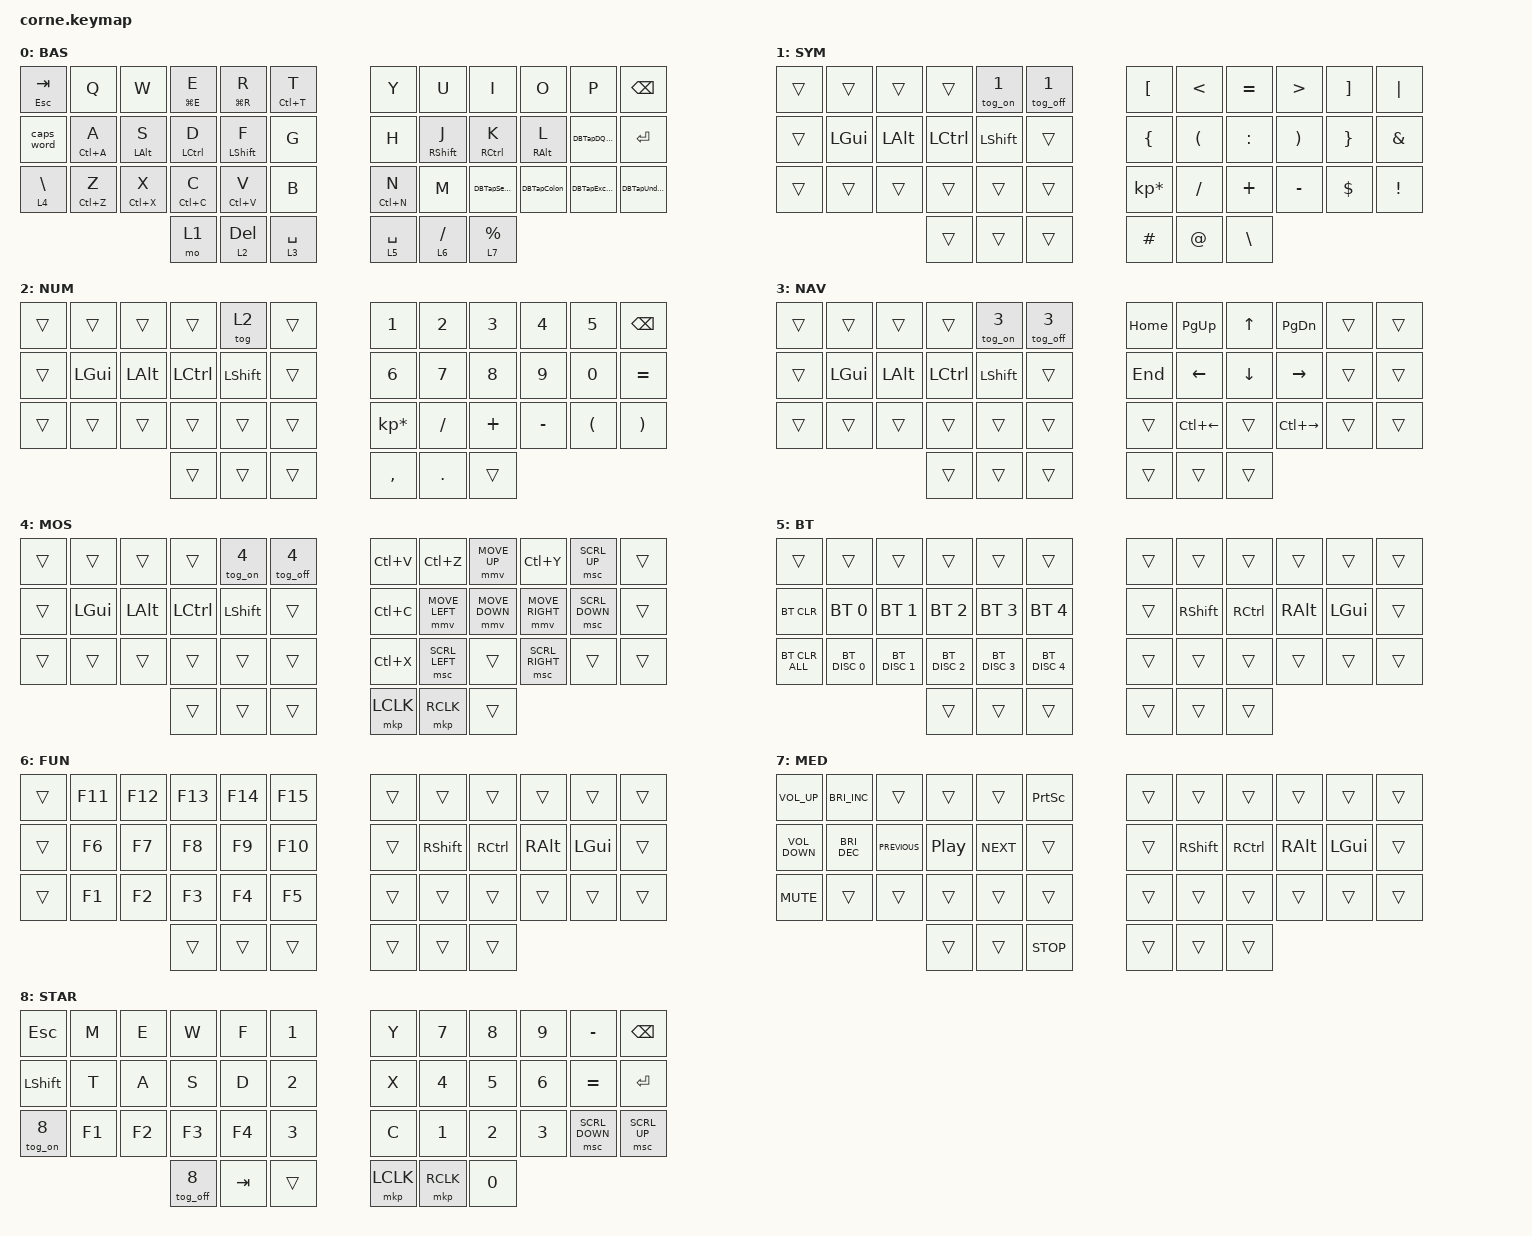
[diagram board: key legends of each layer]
/*
 * Copyright (c) 2020 The ZMK Contributors
 *
 * SPDX-License-Identifier: MIT
 */

#include <behaviors.dtsi>
#include <dt-bindings/zmk/bt.h>
#include <dt-bindings/zmk/keys.h>
#include <dt-bindings/zmk/pointing.h>

&caps_word { continue-list = <UNDERSCORE BACKSPACE DELETE MINUS>; };

/ {
    behaviors {
        DBTapUnderscore: DBTapUnderscore {
            compatible = "zmk,behavior-tap-dance";
            label = "DBTAPUNDERSCORE";
            #binding-cells = <0>;
            bindings = <&kp MINUS>, <&kp UNDERSCORE>;
        };

        DBTapExclamation: DBTapExclamation {
            compatible = "zmk,behavior-tap-dance";
            label = "DBTAPEXCLAMATION";
            #binding-cells = <0>;
            bindings = <&kp QUESTION>, <&kp EXCLAMATION>;
        };

        DBTapColon: DBTapColon {
            compatible = "zmk,behavior-tap-dance";
            label = "DBTAPCOLON";
            #binding-cells = <0>;
            bindings = <&kp DOT>, <&kp COLON>;
        };

        DBTapSemicolon: DBTapSemicolon {
            compatible = "zmk,behavior-tap-dance";
            label = "DBTAPSEMICOLON";
            #binding-cells = <0>;
            bindings = <&kp COMMA>, <&kp SEMICOLON>;
        };

        DBTapDQuote: DBTapDQuote {
            compatible = "zmk,behavior-tap-dance";
            label = "DBTAPDQUOTE";
            #binding-cells = <0>;
            bindings = <&kp SINGLE_QUOTE>, <&kp DOUBLE_QUOTES>;
        };

        longPress: longPress {
            compatible = "zmk,behavior-hold-tap";
            label = "LONGPRESS";
            bindings = <&kp>, <&kp>;

            #binding-cells = <2>;
            tapping-term-ms = <400>;
            flavor = "tap-preferred";
        };

        hmr: hmr {
            compatible = "zmk,behavior-hold-tap";
            label = "HMR";
            bindings = <&kp>, <&kp>;

            #binding-cells = <2>;
            tapping-term-ms = <280>;
            hold-trigger-key-positions = <0 1 2 3 4 5 12 13 14 15 16 17 24 25 26 27 28 29 36 37 38>;
            hold-trigger-on-release;
            flavor = "balanced";
            quick-tap-ms = <175>;
            require-prior-idle-ms = <150>;
        };

        hml: hml {
            compatible = "zmk,behavior-hold-tap";
            label = "HML";
            bindings = <&kp>, <&kp>;

            #binding-cells = <2>;
            tapping-term-ms = <280>;
            hold-trigger-on-release;
            hold-trigger-key-positions = <6 7 8 9 10 11 18 19 20 21 22 23 30 31 32 33 34 35 39 40 41>;
            flavor = "balanced";
            quick-tap-ms = <175>;
            require-prior-idle-ms = <150>;
        };

        tog_on: tog_on {
            compatible = "zmk,behavior-toggle-layer";
            label = "TOG_ON";
            #binding-cells = <1>;
        };

        tog_off: tog_off {
            compatible = "zmk,behavior-toggle-layer";
            label = "TOG_OFF";
            #binding-cells = <1>;
            toggle-mode = "off";
        };
    };

    combos {
        compatible = "zmk,combos";

        combo_caps_word {
            bindings = <&caps_word>;
            key-positions = <16 19>;
            layers = <0>;
            timeout-ms = <75>;
        };
    };

    keymap {
        compatible = "zmk,keymap";

        default_layer {
            display-name = "BAS";

            // -----------------------------------------------------------------------------------------
            // |  TAB |  Q  |  W  |  E  |  R  |  T  |   |  Y  |  U   |  I  |  O  |  P  | BKSP |
            // | CTRL |  A  |  S  |  D  |  F  |  G  |   |  H  |  J   |  K  |  L  |  ;  |  '   |
            // | SHFT |  Z  |  X  |  C  |  V  |  B  |   |  N  |  M   |  ,  |  .  |  /  | ESC  |
            //                    | GUI | LWR | SPC |   | ENT | RSE  | ALT |

            bindings = <
&longPress ESCAPE TAB  &kp Q               &kp W                  &longPress LG(E) E  &longPress LG(R) R  &longPress LC(T) T    &kp Y               &kp U               &kp I            &kp O                   &kp P              &kp BSPC
&caps_word             &longPress LC(A) A  &longPress LEFT_ALT S  &hml LCTRL D        &hml LEFT_SHIFT F   &kp G                 &kp H               &hmr RIGHT_SHIFT J  &hmr RCTRL K     &longPress RIGHT_ALT L  &DBTapDQuote       &kp ENTER
&lt 4 BACKSLASH        &longPress LC(Z) Z  &longPress LC(X) X     &longPress LC(C) C  &longPress LC(V) V  &kp B                 &longPress LC(N) N  &kp M               &DBTapSemicolon  &DBTapColon             &DBTapExclamation  &DBTapUnderscore
                                                                  &mo 1               &lt 2 DEL           &lt 3 SPACE           &lt 5 SPACE         &lt 6 SLASH         &lt 7 PERCENT
            >;
        };

        symbol_layer {
            display-name = "SYM";
            bindings = <
&trans  &trans        &trans        &trans     &tog_on 1       &tog_off 1    &kp LEFT_BRACKET  &kp LESS_THAN         &kp EQUAL      &kp GREATER_THAN       &kp RIGHT_BRACKET  &kp PIPE
&trans  &kp LEFT_GUI  &kp LEFT_ALT  &kp LCTRL  &kp LEFT_SHIFT  &trans        &kp LEFT_BRACE    &kp LEFT_PARENTHESIS  &kp COLON      &kp RIGHT_PARENTHESIS  &kp RIGHT_BRACE    &kp AMPERSAND
&trans  &trans        &trans        &trans     &trans          &trans        &kp KP_MULTIPLY   &kp SLASH             &kp PLUS       &kp MINUS              &kp DOLLAR         &kp EXCLAMATION
                                    &trans     &trans          &trans        &kp HASH          &kp AT_SIGN           &kp BACKSLASH
            >;
        };

        number_layer {
            display-name = "NUM";
            bindings = <
&trans  &trans        &trans        &trans     &tog 2          &trans    &kp N1           &kp N2     &kp N3    &kp N4     &kp N5                &kp BACKSPACE
&trans  &kp LEFT_GUI  &kp LEFT_ALT  &kp LCTRL  &kp LEFT_SHIFT  &trans    &kp N6           &kp N7     &kp N8    &kp N9     &kp N0                &kp EQUAL
&trans  &trans        &trans        &trans     &trans          &trans    &kp KP_MULTIPLY  &kp SLASH  &kp PLUS  &kp MINUS  &kp LEFT_PARENTHESIS  &kp RIGHT_PARENTHESIS
                                    &trans     &trans          &trans    &kp COMMA        &kp DOT    &trans
            >;
        };

        navigation_layer {
            display-name = "NAV";
            bindings = <
&trans  &trans        &trans        &trans     &tog_on 3       &tog_off 3    &kp HOME  &kp PAGE_UP   &kp UP_ARROW  &kp PAGE_DOWN  &trans  &trans
&trans  &kp LEFT_GUI  &kp LEFT_ALT  &kp LCTRL  &kp LEFT_SHIFT  &trans        &kp END   &kp LEFT      &kp DOWN      &kp RIGHT      &trans  &trans
&trans  &trans        &trans        &trans     &trans          &trans        &trans    &kp LC(LEFT)  &trans        &kp LC(RIGHT)  &trans  &trans
                                    &trans     &trans          &trans        &trans    &trans        &trans
            >;
        };

        mouse_layer {
            display-name = "MOS";
            bindings = <
&trans  &trans        &trans    &trans     &tog_on 4       &tog_off 4    &kp LC(V)  &kp LC(Z)       &mmv MOVE_UP    &kp LC(Y)        &msc SCRL_UP    &trans
&trans  &kp LEFT_GUI  &kp LALT  &kp LCTRL  &kp LEFT_SHIFT  &trans        &kp LC(C)  &mmv MOVE_LEFT  &mmv MOVE_DOWN  &mmv MOVE_RIGHT  &msc SCRL_DOWN  &trans
&trans  &trans        &trans    &trans     &trans          &trans        &kp LC(X)  &msc SCRL_LEFT  &trans          &msc SCRL_RIGHT  &trans          &trans
                                &trans     &trans          &trans        &mkp LCLK  &mkp RCLK       &trans
            >;
        };

        bluetooth_layer {
            display-name = "BT";
            bindings = <
&trans          &trans         &trans         &trans         &trans         &trans           &trans  &trans     &trans     &trans    &trans        &trans
&bt BT_CLR      &bt BT_SEL 0   &bt BT_SEL 1   &bt BT_SEL 2   &bt BT_SEL 3   &bt BT_SEL 4     &trans  &kp RSHFT  &kp RCTRL  &kp RALT  &kp LEFT_GUI  &trans
&bt BT_CLR_ALL  &bt BT_DISC 0  &bt BT_DISC 1  &bt BT_DISC 2  &bt BT_DISC 3  &bt BT_DISC 4    &trans  &trans     &trans     &trans    &trans        &trans
                                              &trans         &trans         &trans           &trans  &trans     &trans
            >;
        };

        function_layer {
            display-name = "FUN";
            bindings = <
&trans  &kp F11  &kp F12  &kp F13  &kp F14  &kp F15    &trans  &trans     &trans     &trans    &trans        &trans
&trans  &kp F6   &kp F7   &kp F8   &kp F9   &kp F10    &trans  &kp RSHFT  &kp RCTRL  &kp RALT  &kp LEFT_GUI  &trans
&trans  &kp F1   &kp F2   &kp F3   &kp F4   &kp F5     &trans  &trans     &trans     &trans    &trans        &trans
                          &trans   &trans   &trans     &trans  &trans     &trans
            >;
        };

        media_layer {
            display-name = "MED";
            bindings = <
&kp C_VOLUME_UP    &kp C_BRIGHTNESS_INC  &trans          &trans            &trans      &kp PRINTSCREEN    &trans  &trans     &trans     &trans    &trans        &trans
&kp C_VOLUME_DOWN  &kp C_BRI_DEC         &kp C_PREVIOUS  &kp C_PLAY_PAUSE  &kp C_NEXT  &trans             &trans  &kp RSHFT  &kp RCTRL  &kp RALT  &kp LEFT_GUI  &trans
&kp K_MUTE         &trans                &trans          &trans            &trans      &trans             &trans  &trans     &trans     &trans    &trans        &trans
                                                         &trans            &trans      &kp C_STOP         &trans  &trans     &trans
            >;
        };

        stardew_layer {
            display-name = "STAR";
            bindings = <
&kp ESCAPE      &kp M   &kp E   &kp W       &kp F    &kp NUMBER_1    &kp Y      &kp NUMBER_7  &kp NUMBER_8  &kp NUMBER_9  &kp MINUS       &kp BSPC
&kp LEFT_SHIFT  &kp T   &kp A   &kp S       &kp D    &kp NUMBER_2    &kp X      &kp NUMBER_4  &kp NUMBER_5  &kp NUMBER_6  &kp EQUAL       &kp ENTER
&tog_on 8       &kp F1  &kp F2  &kp F3      &kp F4   &kp NUMBER_3    &kp C      &kp NUMBER_1  &kp NUMBER_2  &kp NUMBER_3  &msc SCRL_DOWN  &msc SCRL_UP
                                &tog_off 8  &kp TAB  &trans          &mkp LCLK  &mkp RCLK     &kp NUMBER_0
            >;
        };
    };

    conditional_layers {
        compatible = "zmk,conditional-layers";

        stardew {
            if-layers = <3 5>;
            then-layer = <8>;
        };
    };
};
